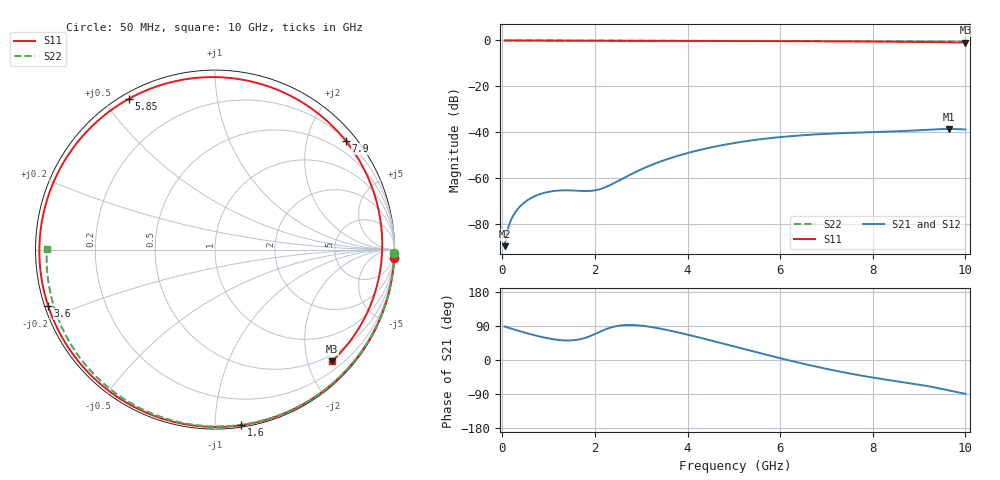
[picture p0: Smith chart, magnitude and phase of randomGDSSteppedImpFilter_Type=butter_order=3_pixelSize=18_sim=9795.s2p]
! freq	dB(S11)	phase(S11)	dB(S12)	phase(S12)
!  dB(S21)	phase(S21)	dB(S22)	phase(S22)
!S-par simulation data
#  GHz  S  DB  R 50
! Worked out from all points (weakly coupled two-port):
!   200 points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, 50 MHz to 10 GHz, reference 50 ohm
!   highest |S21| = -38.64 dB at 9.65 GHz (marker M1); lowest = -89.8 dB at 50 MHz (marker M2)
!   lowest |S11| = -0.9 dB at 10 GHz (marker M3), VSWR 19.05, Z = 18.6 - j122 ohm
!   |S11| at or under -10 dB: nowhere
!   |S22| runs from -0.6 to 0.0 dB; largest |S21 - S12| = 0
!   S11 on the Smith chart (normalised r, x): 50 MHz: 0, -42; 1.6 GHz: 0.01, -1.16; 3.6 GHz: 0.01, -0.16; 5.85 GHz: 0.02, +0.58; 7.9 GHz: 0.23, +2.75; 10 GHz: 0.37, -2.44
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0.05  -0.00 -2.7  -89.81 88.2  -89.81 88.2  -0.00 -1.1
0.15  -0.01 -8.2  -80.31 84.4  -80.31 84.4  -0.00 -3.2
0.35  -0.03 -18.9  -73.18 77.1  -73.18 77.1  -0.01 -7.4
0.7  -0.05 -37.4  -68.00 65.2  -68.00 65.2  -0.02 -14.8
1.15  -0.07 -60.2  -65.64 54.0  -65.64 54.0  -0.03 -24.2
1.6  -0.10 -81.6  -65.58 53.0  -65.58 53.0  -0.04 -33.5
1.75  -0.10 -88.4  -65.72 56.9  -65.72 56.9  -0.05 -36.6
2.1  -0.11 -103.7  -64.98 74.2  -64.98 74.2  -0.06 -43.6
2.5  -0.13 -120.1  -61.38 90.3  -61.38 90.3  -0.07 -51.6
2.95  -0.14 -137.6  -56.75 91.2  -56.75 91.2  -0.08 -60.3
3.4  -0.16 -154.2  -52.98 83.0  -52.98 83.0  -0.09 -68.9
3.6  -0.17 -161.3  -51.57 78.1  -51.57 78.1  -0.10 -72.6
4.3  -0.20 174.2  -47.63 57.9  -47.63 57.9  -0.12 -85.4
5.05  -0.24 148.1  -44.64 34.4  -44.64 34.4  -0.15 -98.7
5.85  -0.29 119.6  -42.49 9.3  -42.49 9.3  -0.19 -112.2
6.7  -0.35 87.7  -41.10 -15.4  -41.10 -15.4  -0.24 -126.3
7.3  -0.40 64.0  -40.50 -30.8  -40.50 -30.8  -0.29 -136.0
7.9  -0.47 39.7  -40.08 -44.2  -40.08 -44.2  -0.34 -145.6
8.35  -0.53 21.3  -39.79 -53.1  -39.79 -53.1  -0.38 -152.9
9  -0.64 -5.0  -39.20 -65.1  -39.20 -65.1  -0.45 -163.4
9.65  -0.80 -30.5  -38.64 -80.5  -38.64 -80.5  -0.52 -174.2
10  -0.91 -43.8  -38.85 -89.1  -38.85 -89.1  -0.56 179.8
